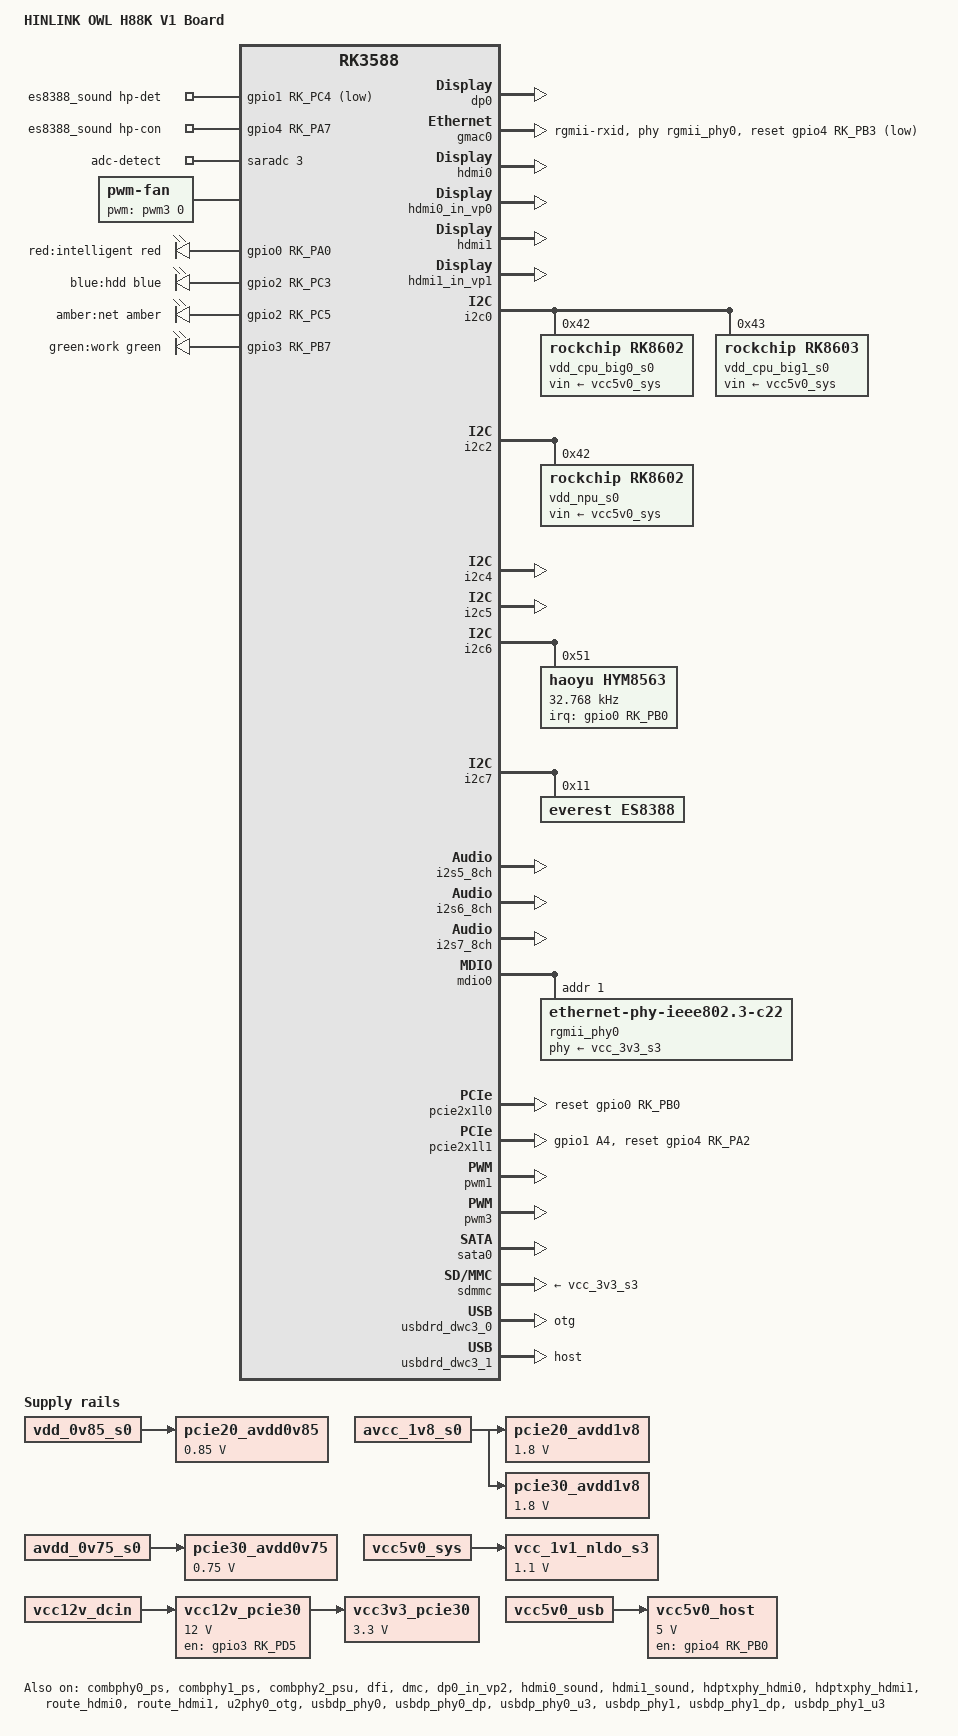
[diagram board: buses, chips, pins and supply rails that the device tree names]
// SPDX-License-Identifier: (GPL-2.0+ OR MIT)
/*
 * Copyright (c) 2022 Rockchip Electronics Co., Ltd.
 *
 */

/dts-v1/;

#include <dt-bindings/leds/common.h>
#include "rk3588.dtsi"
#include "rk3588-evb.dtsi"
#include "rk3588-rk806-single.dtsi"
#include "rk3588-linux.dtsi"

/ {
	model = "HINLINK OWL H88K V1 Board";
	compatible = "rockchip,rk3588-owl-h88k-v1", "rockchip,rk3588";

	aliases {
		ethernet0 = &gmac0;
		mmc0 = &sdmmc;
		mmc1 = &sdhci;

		led-boot = &led_intelligent;
		led-failsafe = &led_net;
		led-running = &led_work;
		led-upgrade = &led_hdd;
	};

	/delete-node/ chosen;
	/* If hdmirx node is disabled, delete the reserved-memory node here. */
	reserved-memory {
		#address-cells = <2>;
		#size-cells = <2>;
		ranges;

		/* Reserve 128MB memory for hdmirx-controller@fdee0000 */
		cma {
			compatible = "shared-dma-pool";
			reusable;
			reg = <0x0 (256 * 0x100000) 0x0 (128 * 0x100000)>;
			linux,cma-default;
		};
	};

	es8388_sound: es8388-sound {
		status = "okay";
		compatible = "rockchip,multicodecs-card";
		rockchip,card-name = "rockchip-es8388";
		hp-det-gpio = <&gpio1 RK_PC4 GPIO_ACTIVE_LOW>;
		io-channels = <&saradc 3>;
		io-channel-names = "adc-detect";
		keyup-threshold-microvolt = <1800000>;
		poll-interval = <100>;
		hp-con-gpio = <&gpio4 RK_PA7 GPIO_ACTIVE_HIGH>;
		rockchip,format = "i2s";
		rockchip,mclk-fs = <256>;
		rockchip,cpu = <&i2s0_8ch>;
		rockchip,codec = <&es8388>;
		rockchip,audio-routing =
			"Headphone", "LOUT1",
			"Headphone", "ROUT1",
			"Speaker", "LOUT2",
			"Speaker", "ROUT2",
			"Headphone", "Headphone Power",
			"Headphone", "Headphone Power",
			"Speaker", "Speaker Power",
			"Speaker", "Speaker Power",
			"LINPUT1", "Main Mic",
			"LINPUT2", "Main Mic",
			"RINPUT1", "Headset Mic",
			"RINPUT2", "Headset Mic";
		pinctrl-names = "default";
		pinctrl-0 = <&hp_det>;
		play-pause-key {
			label = "playpause";
			linux,code = <KEY_PLAYPAUSE>;
			press-threshold-microvolt = <2000>;
		};
	};

	fan: pwm-fan {
		compatible = "pwm-fan";
		#cooling-cells = <2>;
		pwms = <&pwm3 0 50000 0>;
	};

	hdmiin_dc: hdmiin-dc {
		compatible = "rockchip,dummy-codec";
		#sound-dai-cells = <0>;
	};

	hdmiin-sound {
		compatible = "simple-audio-card";
		simple-audio-card,format = "i2s";
		simple-audio-card,name = "rockchip,hdmiin";
		simple-audio-card,bitclock-master = <&dailink0_master>;
		simple-audio-card,frame-master = <&dailink0_master>;
		status = "okay";
		simple-audio-card,cpu {
			sound-dai = <&i2s7_8ch>;
		};
		dailink0_master: simple-audio-card,codec {
			sound-dai = <&hdmiin_dc>;
		};
	};

	leds {
		compatible = "gpio-leds";
                pinctrl-names = "default";
                pinctrl-0 = <&led_intelligent_pin>, <&led_hdd_pin>, <&led_net_pin>, <&led_work_pin>;

		led_intelligent: led-intelligent {
			gpios = <&gpio0 RK_PA0 GPIO_ACTIVE_HIGH>;
			label = "red:intelligent";
			function = LED_FUNCTION_HEARTBEAT;
			color = <LED_COLOR_ID_RED>;
			//linux,default-trigger = "heartbeat";
		};

		led_hdd: led-hdd {
			gpios = <&gpio2 RK_PC3 GPIO_ACTIVE_HIGH>;
			label = "blue:hdd";
			function = LED_FUNCTION_STATUS;
			color = <LED_COLOR_ID_BLUE>;
			//linux,default-trigger = "default-on";
		};

		led_net: led-net {
			gpios = <&gpio2 RK_PC5 GPIO_ACTIVE_HIGH>;
			label = "amber:net";
			function = LED_FUNCTION_WAN;
			color = <LED_COLOR_ID_AMBER>;
			//linux,default-trigger = "default-on";
		};

		led_work: led-work {
			gpios = <&gpio3 RK_PB7 GPIO_ACTIVE_HIGH>;
			label = "green:work";
			function = LED_FUNCTION_POWER;
			color = <LED_COLOR_ID_GREEN>;
			//linux,default-trigger = "default-on";
		};
	};

	pcie20_avdd0v85: pcie20-avdd0v85 {
		compatible = "regulator-fixed";
		regulator-name = "pcie20_avdd0v85";
		regulator-boot-on;
		regulator-always-on;
		regulator-min-microvolt = <850000>;
		regulator-max-microvolt = <850000>;
		vin-supply = <&vdd_0v85_s0>;
	};

	pcie20_avdd1v8: pcie20-avdd1v8 {
		compatible = "regulator-fixed";
		regulator-name = "pcie20_avdd1v8";
		regulator-boot-on;
		regulator-always-on;
		regulator-min-microvolt = <1800000>;
		regulator-max-microvolt = <1800000>;
		vin-supply = <&avcc_1v8_s0>;
	};

	pcie30_avdd0v75: pcie30-avdd0v75 {
		compatible = "regulator-fixed";
		regulator-name = "pcie30_avdd0v75";
		regulator-boot-on;
		regulator-always-on;
		regulator-min-microvolt = <750000>;
		regulator-max-microvolt = <750000>;
		vin-supply = <&avdd_0v75_s0>;
	};

	pcie30_avdd1v8: pcie30-avdd1v8 {
		compatible = "regulator-fixed";
		regulator-name = "pcie30_avdd1v8";
		regulator-boot-on;
		regulator-always-on;
		regulator-min-microvolt = <1800000>;
		regulator-max-microvolt = <1800000>;
		vin-supply = <&avcc_1v8_s0>;
	};

	rk_headset: rk-headset {
		status = "disabled";
		compatible = "rockchip_headset";
		headset_gpio = <&gpio1 RK_PD5 GPIO_ACTIVE_LOW>;
		pinctrl-names = "default";
		pinctrl-0 = <&hp_det>;
		io-channels = <&saradc 3>;
	};

	vcc_1v1_nldo_s3: vcc-1v1-nldo-s3 {
		compatible = "regulator-fixed";
		regulator-name = "vcc_1v1_nldo_s3";
		regulator-always-on;
		regulator-boot-on;
		regulator-min-microvolt = <1100000>;
		regulator-max-microvolt = <1100000>;
		vin-supply = <&vcc5v0_sys>;
	};

	vcc12v_pcie30: vcc12v-pcie30 {
		compatible = "regulator-fixed";

		regulator-name = "vcc12v_pcie30";
		regulator-min-microvolt = <12000000>;
		regulator-max-microvolt = <12000000>;
		regulator-always-on;
		regulator-boot-on;

		enable-active-high;
		gpios = <&gpio3 RK_PD5 GPIO_ACTIVE_HIGH>;
		pinctrl-names = "default";
		pinctrl-0 = <&vcc12v_pcie30_en>;

		vin-supply = <&vcc12v_dcin>;
	};

	vcc3v3_pcie30: vcc3v3-pcie30 {
		compatible = "regulator-fixed";

		regulator-name = "vcc3v3_pcie30";
		regulator-min-microvolt = <3300000>;
		regulator-max-microvolt = <3300000>;
		regulator-always-on;
		regulator-boot-on;

		/* The real source is vcc5v_sys,
		 * but since gpio is shared with vcc12v_pice30,
		 * so change it as follows
		 */
		vin-supply = <&vcc12v_pcie30>;
	};

	vcc5v0_host: vcc5v0-host {
		compatible = "regulator-fixed";
		regulator-name = "vcc5v0_host";
		regulator-boot-on;
		regulator-always-on;
		regulator-min-microvolt = <5000000>;
		regulator-max-microvolt = <5000000>;
		enable-active-high;
		gpio = <&gpio4 RK_PB0 GPIO_ACTIVE_HIGH>;
		vin-supply = <&vcc5v0_usb>;
		pinctrl-names = "default";
		pinctrl-0 = <&vcc5v0_host_en>;
	};
};

&backlight {
	status = "disabled";
};

&combphy0_ps {
	status = "okay";
};

&combphy1_ps {
	status = "okay";
};

&combphy2_psu {
	status = "okay";
};

&dfi {
	status = "okay";
};

&dmc {
	center-supply = <&vdd_ddr_s0>;
	mem-supply = <&vdd_log_s0>;
	status = "okay";
};

&dp0 {
	status = "okay";
};

&dp0_in_vp2 {
	status = "okay";
};

/*
 * mipi_dcphy1 needs to be enabled
 * when dsi1 is enabled
 */
&dsi1 {
	status = "disabled";
};

&dsi1_in_vp2 {
	status = "disabled";
};

&dsi1_in_vp3 {
	status = "disabled";
};

&gmac0 {
	/* Use rgmii-rxid mode to disable rx delay inside Soc */
	phy-mode = "rgmii-rxid";
	clock_in_out = "output";

	snps,reset-gpio = <&gpio4 RK_PB3 GPIO_ACTIVE_LOW>;
	snps,reset-active-low;
	/* Reset time is 20ms, 100ms for rtl8211f */
	snps,reset-delays-us = <0 20000 100000>;

	pinctrl-names = "default";
	pinctrl-0 = <&gmac0_miim
		     &gmac0_tx_bus2
		     &gmac0_rx_bus2
		     &gmac0_rgmii_clk
		     &gmac0_rgmii_bus>;

	tx_delay = <0x44>;
	/* rx_delay = <0x4f>; */

	phy-handle = <&rgmii_phy0>;
	status = "okay";
};

&hdmi0 {
	enable-gpios = <&gpio4 RK_PB1 GPIO_ACTIVE_HIGH>;
	status = "okay";
};

&hdmi0_in_vp0 {
	status = "okay";
};

&hdmi0_sound {
	status = "okay";
};

&hdmi1 {
	enable-gpios = <&gpio4 RK_PB2 GPIO_ACTIVE_HIGH>;
	status = "okay";
};

&hdmi1_in_vp1 {
	status = "okay";
};

&hdmi1_sound {
	status = "okay";
};


&hdptxphy_hdmi0 {
	status = "okay";
};

&hdptxphy_hdmi1 {
	status = "okay";
};

&i2c0 {
	status = "okay";
	pinctrl-names = "default";
	pinctrl-0 = <&i2c0m2_xfer>;

	vdd_cpu_big0_s0: vdd_cpu_big0_mem_s0: rk8602@42 {
		compatible = "rockchip,rk8602";
		reg = <0x42>;
		vin-supply = <&vcc5v0_sys>;
		regulator-compatible = "rk860x-reg";
		regulator-name = "vdd_cpu_big0_s0";
		regulator-min-microvolt = <550000>;
		regulator-max-microvolt = <1050000>;
		regulator-ramp-delay = <2300>;
		rockchip,suspend-voltage-selector = <1>;
		regulator-boot-on;
		regulator-always-on;
		regulator-state-mem {
			regulator-off-in-suspend;
		};
	};

	vdd_cpu_big1_s0: vdd_cpu_big1_mem_s0: rk8603@43 {
		compatible = "rockchip,rk8603";
		reg = <0x43>;
		vin-supply = <&vcc5v0_sys>;
		regulator-compatible = "rk860x-reg";
		regulator-name = "vdd_cpu_big1_s0";
		regulator-min-microvolt = <550000>;
		regulator-max-microvolt = <1050000>;
		regulator-ramp-delay = <2300>;
		rockchip,suspend-voltage-selector = <1>;
		regulator-boot-on;
		regulator-always-on;
		regulator-state-mem {
			regulator-off-in-suspend;
		};
	};
};

&i2c2 {
	status = "okay";
	pinctrl-names = "default";
	pinctrl-0 = <&i2c2m0_xfer>;

	vdd_npu_s0: vdd_npu_mem_s0: rk8602@42 {
		compatible = "rockchip,rk8602";
		reg = <0x42>;
		vin-supply = <&vcc5v0_sys>;
		regulator-compatible = "rk860x-reg";
		regulator-name = "vdd_npu_s0";
		regulator-min-microvolt = <550000>;
		regulator-max-microvolt = <950000>;
		regulator-ramp-delay = <2300>;
		rockchip,suspend-voltage-selector = <1>;
		regulator-boot-on;
		regulator-always-on;
		regulator-state-mem {
			regulator-off-in-suspend;
		};
	};
};

&i2c4 {
	status = "okay";
	pinctrl-0 = <&i2c4m1_xfer>;
};

&i2c5 {
	status = "okay";
};

&i2c6 {
	status = "okay";

	hym8563: hym8563@51 {
		compatible = "haoyu,hym8563";
		reg = <0x51>;
		#clock-cells = <0>;
		clock-frequency = <32768>;
		clock-output-names = "hym8563";
		pinctrl-names = "default";
		pinctrl-0 = <&hym8563_int>;
		interrupt-parent = <&gpio0>;
		interrupts = <RK_PB0 IRQ_TYPE_LEVEL_LOW>;
		wakeup-source;
	};
};

&i2c7 {
	status = "okay";
	es8388: es8388@11 {
		status = "okay";
		#sound-dai-cells = <0>;
		compatible = "everest,es8388", "everest,es8323";
		reg = <0x11>;
		clocks = <&cru I2S0_8CH_MCLKOUT>;
		clock-names = "mclk";
		assigned-clocks = <&cru I2S0_8CH_MCLKOUT>;
		assigned-clock-rates = <12288000>;
		pinctrl-names = "default";
		pinctrl-0 = <&i2s0_mclk>;
	};
};

&i2s5_8ch {
	status = "okay";
};

&i2s6_8ch {
	status = "okay";
};

&i2s7_8ch {
	status = "okay";
};

&mdio0 {
	rgmii_phy0: phy@1 {
		compatible = "ethernet-phy-ieee802.3-c22";
		phy-supply = <&vcc_3v3_s3>;
		reg = <0x1>;
	};
};

/* M.2 A+E */
&pcie2x1l0 {
	reset-gpios = <&gpio0 RK_PB0 GPIO_ACTIVE_HIGH>;
	status = "okay";
};

/* RTL8125 */
&pcie2x1l1 {
	reset-gpios = <&gpio4 RK_PA2 GPIO_ACTIVE_HIGH>;		//GPIO4_A2_d PCIEX1_1_PERSTn_M1_L
	pinctrl-names = "default";
	pinctrl-0 = <&rtl8125_isolate>;
	status = "okay";
};

&pcie30phy {
	//rockchip,pcie30-phymode = <PHY_MODE_PCIE_AGGREGATION>;
	status = "disabled";
};

&pcie3x4 {
	reset-gpios = <&gpio4 RK_PB6 GPIO_ACTIVE_HIGH>;
	status = "disabled";
};

&pinctrl {
	cam {
		mipicsi0_pwr: mipicsi0-pwr {
			rockchip,pins =
				/* camera power en */
				<1 RK_PD2 RK_FUNC_GPIO &pcfg_pull_none>;
		};
		mipicsi1_pwr: mipicsi1-pwr {
			rockchip,pins =
				/* camera power en */
				<1 RK_PD3 RK_FUNC_GPIO &pcfg_pull_none>;
		};
		mipidcphy0_pwr: mipidcphy0-pwr {
			rockchip,pins =
				/* camera power en */
				<1 RK_PA4 RK_FUNC_GPIO &pcfg_pull_none>;
		};
		mipidcphy1_pwr: mipidcphy1-pwr {
			rockchip,pins =
				/* camera power en */
				<1 RK_PB0 RK_FUNC_GPIO &pcfg_pull_none>;
		};
		mipidphy0_pwr: mipidphy0-pwr {
			rockchip,pins =
				/* camera power en */
				<1 RK_PB2 RK_FUNC_GPIO &pcfg_pull_none>;
		};
		mipidphy1_pwr: mipidphy1-pwr {
			rockchip,pins =
				/* camera power en */
				<1 RK_PB4 RK_FUNC_GPIO &pcfg_pull_none>;
		};
	};

	hdmi {
		hdmirx_det: hdmirx-det {
			rockchip,pins = <1 RK_PD5 RK_FUNC_GPIO &pcfg_pull_up>;
		};
	};

	headphone {
		hp_det: hp-det {
			rockchip,pins = <1 RK_PC4 RK_FUNC_GPIO &pcfg_pull_none>;
		};
	};

	hym8563 {
		hym8563_int: hym8563-int {
			rockchip,pins = <0 RK_PB0 RK_FUNC_GPIO &pcfg_pull_up>;
		};
	};

	led {
		led_intelligent_pin: led-intelligent-pin {
			rockchip,pins = <0 RK_PA0 RK_FUNC_GPIO &pcfg_pull_none>;
		};

		led_hdd_pin: led-hdd-pin {
			rockchip,pins = <2 RK_PC3 RK_FUNC_GPIO &pcfg_pull_none>;
		};

		led_net_pin: led-net-pin {
			rockchip,pins = <2 RK_PC5 RK_FUNC_GPIO &pcfg_pull_none>;
		};

		led_work_pin: led-work-pin {
			rockchip,pins = <3 RK_PB7 RK_FUNC_GPIO &pcfg_pull_none>;
		};
	};

	pcie {
		vcc12v_pcie30_en: vcc12v-pcie30-en {
			rockchip,pins = <3 RK_PD5 RK_FUNC_GPIO &pcfg_pull_up>;
		};
	};

	rtl8125 {
		rtl8125_isolate: rtl8125-isolate {
			rockchip,pins = <1 RK_PA4 RK_FUNC_GPIO &pcfg_pull_up>;	//GPIO1_A4_d RTL8125B_ISOLATEB_L
		};
	};

	usb {
		vcc5v0_host_en: vcc5v0-host-en {
			rockchip,pins = <4 RK_PB0 RK_FUNC_GPIO &pcfg_pull_none>;
		};
	};
};

&pwm1 {
	status = "okay";
};

&pwm3 {
	pinctrl-0 = <&pwm3m1_pins>;
	status = "okay";
};

&route_hdmi0 {
	status = "okay";
};

&route_hdmi1 {
	status = "okay";
};

&sata0 {
	status = "okay";
};

&sdmmc {
	status = "okay";
	/delete-property/ sd-uhs-sdr104;
	max-frequency = <500000000>;
	vmmc-supply = <&vcc_3v3_s3>;
};

&u2phy0_otg {
	status = "okay";
};

&u2phy1_otg {
	phy-supply = <&vcc5v0_host>;
};

&u2phy2_host {
	phy-supply = <&vcc5v0_host>;
};

&u2phy3_host {
	phy-supply = <&vcc5v0_host>;
};

&usbdp_phy0 {
	rockchip,dp-lane-mux = <2 3>;
	status = "okay";
};

&usbdp_phy0_dp {
	status = "okay";
};

&usbdp_phy0_u3 {
	status = "okay";
};

&usbdp_phy1 {
	rockchip,dp-lane-mux = <3 2 1 0>;
	status = "okay";
};

&usbdp_phy1_dp {
	status = "okay";
};

&usbdp_phy1_u3 {
	maximum-speed = "high-speed";
	status = "okay";
};

&usbdrd_dwc3_0 {
	dr_mode = "otg";
	extcon = <&u2phy0>;
	status = "okay";
};

&usbdrd_dwc3_1 {
	dr_mode = "host";
	maximum-speed = "high-speed";
	status = "okay";
};

&vccio_sd_s0 {
	regulator-ramp-delay = <12500>;
};
